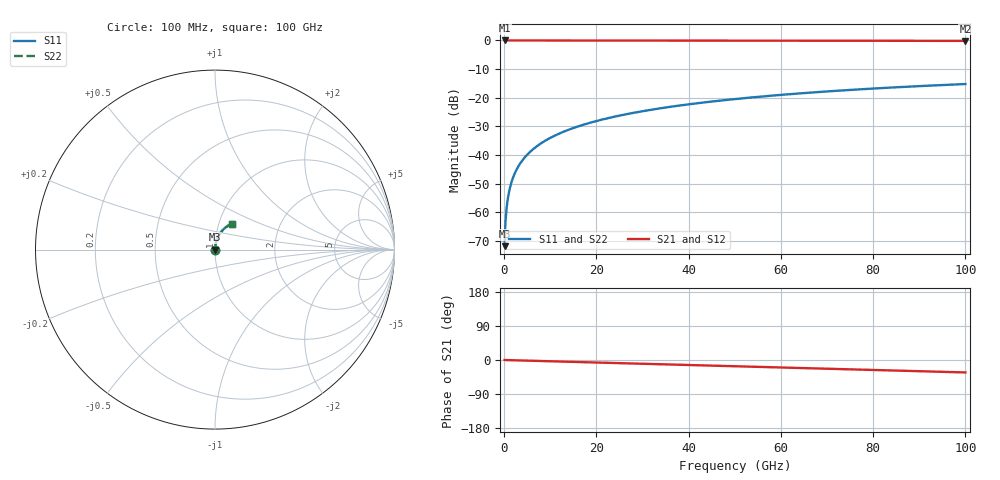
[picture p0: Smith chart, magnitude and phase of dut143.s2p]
! Touchstone file exported from HFSS 2026.1.0
!  File:  C:/ffzhzh/LocalFiles/Ansys_Project_Files/temp_train_TSV_143_1783506482_41296.aedt
!  Generated:  06:29:15 PM Jul  8, 2026
!  Design:  TSV
!  Project:  temp_train_TSV_143_1783506482_41296
! Variables:
!  h_bsmrdl = 2um
!  h_ox = 20um
!  h_rdl = 5um
!  h_sub = 55.77um
!  h_tmrdl = 5um
!  h_tsv = 55.77um
!  h_via = 3um
!  l_bsmrdl = 300um
!  l_sub = 417.74um
!  l_tmrdl = 200um
!  m_sub = 200um
!  pitch = 54.29um
!  r_tsv = 8.87um
!  s_tmrdl = 10um
!  w_bsmrdl = 18um
!  w_sub = 500um
!  w_tmrdl = 12um
!  x_tsv_center1 = 206um
!  x_tsv_center2 = 524um
!  x_tsv_center3 = 736um
!  x_tsv_center4 = 1054um
!  x_tsv_center5 = 1266um
!  x_tsv_center6 = 1584um
# GHz S MA R 50.000000
! Terminal data exported
! Port[1] = TSV1_1_T1
! Port[2] = TSV1_1_T2
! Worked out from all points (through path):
!   1000 points, 100 MHz to 100 GHz, reference 50 ohm
!   highest |S21| = 0.00 dB at 100 MHz (marker M1); lowest = -0.2 dB at 100 GHz (marker M2)
!   group delay of S21, straight-line fit = 912 fs
!   lowest |S11| = -71.9 dB at 100 MHz (marker M3), VSWR 1.00, Z = 50 + j0.0227 ohm
!   |S11| at or under -10 dB: start of sweep to end of sweep
!   |S22| runs from -71.9 to -15.2 dB; largest |S21 - S12| = 2.1e-15
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0.1  0.0002544 63.2  0.9999 -0.0  0.9999 -0.0  0.0002544 63.2
! Gamma 0 0 0 0
! Port Impedance 50 0 50 0
0.3  0.0006845 78.3  0.9999 -0.1  0.9999 -0.1  0.0006845 78.3
0.7  0.001524 82.6  0.9998 -0.2  0.9998 -0.2  0.001524 82.6
0.8  0.001729 83.0  0.9998 -0.3  0.9998 -0.3  0.001729 83.0
1  0.002138 83.7  0.9998 -0.3  0.9998 -0.3  0.002138 83.7
1.3  0.002748 84.3  0.9997 -0.4  0.9997 -0.4  0.002748 84.3
1.7  0.003557 84.8  0.9997 -0.6  0.9997 -0.6  0.003557 84.8
2.3  0.004759 85.2  0.9997 -0.8  0.9997 -0.8  0.004759 85.2
3  0.00615 85.4  0.9996 -1.0  0.9996 -1.0  0.00615 85.4
3.8  0.007728 85.5  0.9995 -1.3  0.9995 -1.3  0.007728 85.5
4.8  0.009692 85.5  0.9995 -1.6  0.9995 -1.6  0.009692 85.5
6  0.01204 85.4  0.9994 -2.0  0.9994 -2.0  0.01204 85.4
8.8  0.01751 84.9  0.9992 -2.9  0.9992 -2.9  0.01751 84.9
12.4  0.02449 84.0  0.9989 -4.1  0.9989 -4.1  0.02449 84.0
16.8  0.03296 82.8  0.9985 -5.6  0.9985 -5.6  0.03296 82.8
24.2  0.04709 80.6  0.9978 -8.0  0.9978 -8.0  0.04709 80.6
33.4  0.06438 77.8  0.9966 -11.1  0.9966 -11.1  0.06438 77.8
41.2  0.07874 75.3  0.9954 -13.7  0.9954 -13.7  0.07874 75.3
50.1  0.09473 72.5  0.9939 -16.6  0.9939 -16.6  0.09473 72.5
66.7  0.1232 67.2  0.9905 -22.0  0.9905 -22.0  0.1232 67.2
83.4  0.1496 61.8  0.9867 -27.5  0.9867 -27.5  0.1496 61.8
100  0.1732 56.5  0.9826 -32.8  0.9826 -32.8  0.1732 56.5
